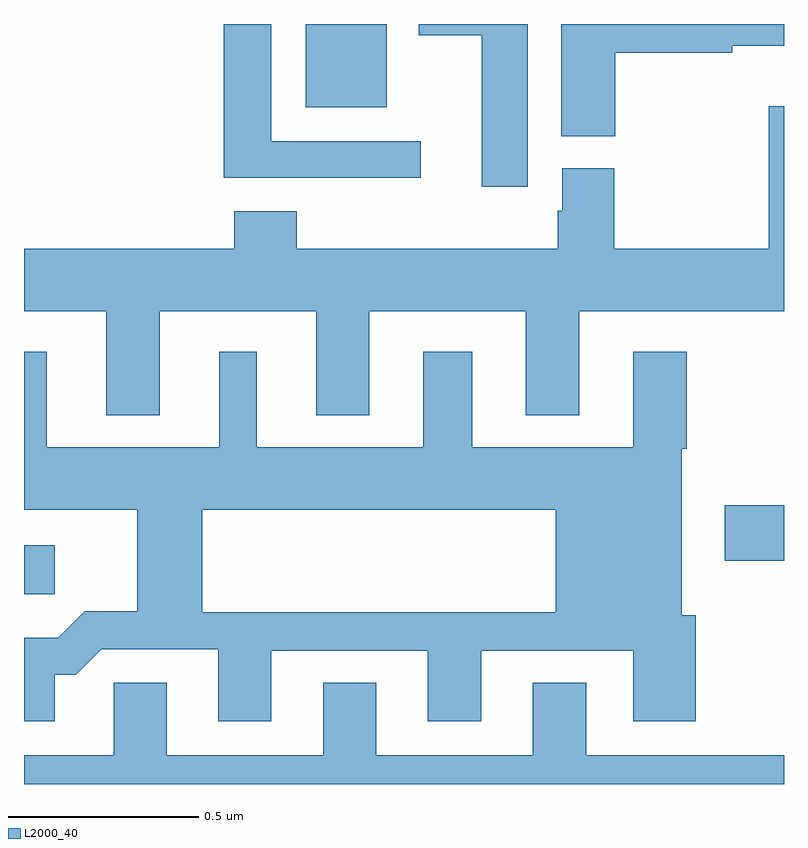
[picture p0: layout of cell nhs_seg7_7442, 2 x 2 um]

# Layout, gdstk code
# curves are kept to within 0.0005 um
import gdstk
lib = gdstk.Library(unit=1e-6, precision=1e-09)
def R(c, l, rs):  # rectangles x0, y0, x1, y1
    for r in rs: c.add(gdstk.rectangle(r[:2], r[2:], *l))
def P(c, l, *ps):  # polygons
    for p in ps: c.add(gdstk.Polygon(p, *l))
L2000_40 = (2000, 40)

nhs_seg7_7442 = lib.new_cell('nhs_seg7_7442')
R(nhs_seg7_7442, L2000_40, [(211,1038.499,211.081,1038.628), (212.844,1038.587,213,1038.734), (211.742,1039.781,211.954,1040)])
P(nhs_seg7_7442, L2000_40, [(212.556,1039.924),(212.864,1039.924),(212.864,1039.943),(213,1039.943),(213,1040),(212.414,1040),(212.414,1039.705),(212.556,1039.705)],
  [(212.326,1040),(212.039,1040),(212.039,1039.97),(212.204,1039.97),(212.204,1039.572),(212.326,1039.572)],
  [(212.044,1039.692),(211.651,1039.692),(211.651,1040),(211.526,1040),(211.526,1039.595),(212.044,1039.595)],
  [(211.357,1039.244),(211.769,1039.244),(211.769,1038.971),(211.909,1038.971),(211.909,1039.244),(212.321,1039.244),(212.321,1038.971),(212.461,1038.971),(212.461,1039.244),(213,1039.244),(213,1039.783),(212.96,1039.783),(212.96,1039.408),(212.553,1039.408),(212.553,1039.62),(212.417,1039.62),(212.417,1039.509),(212.405,1039.509),(212.405,1039.408),(211.718,1039.408),(211.718,1039.507),(211.553,1039.507),(211.553,1039.408),(211,1039.408),(211,1039.244),(211.217,1039.244),(211.217,1038.971),(211.357,1038.971)],
  [(211,1038.385),(211,1038.165),(211.081,1038.165),(211.081,1038.287),(211.136,1038.287),(211.203,1038.354),(211.511,1038.354),(211.511,1038.165),(211.651,1038.165),(211.651,1038.351),(212.063,1038.351),(212.063,1038.165),(212.203,1038.165),(212.203,1038.351),(212.603,1038.351),(212.603,1038.165),(212.768,1038.165),(212.768,1038.444),(212.731,1038.444),(212.731,1038.882),(212.744,1038.882),(212.744,1039.138),(212.603,1039.138),(212.603,1038.886),(212.179,1038.886),(212.179,1039.138),(212.051,1039.138),(212.051,1038.886),(211.612,1038.886),(211.612,1039.138),(211.514,1039.138),(211.514,1038.886),(211.06,1038.886),(211.06,1039.138),(211,1039.138),(211,1038.722),(211.298,1038.722),(211.298,1038.455),(211.16,1038.455),(211.157,1038.452),(211.469,1038.452),(211.469,1038.722),(212.399,1038.722),(212.399,1038.452),(211.157,1038.452),(211.09,1038.385)],
  [(213,1038.076),(212.479,1038.076),(212.479,1038.266),(212.339,1038.266),(212.339,1038.076),(211.927,1038.076),(211.927,1038.266),(211.787,1038.266),(211.787,1038.076),(211.375,1038.076),(211.375,1038.266),(211.236,1038.266),(211.236,1038.076),(211,1038.076),(211,1038),(213,1038)])

lib.write_gds('nhs_seg7_7442.gds')
